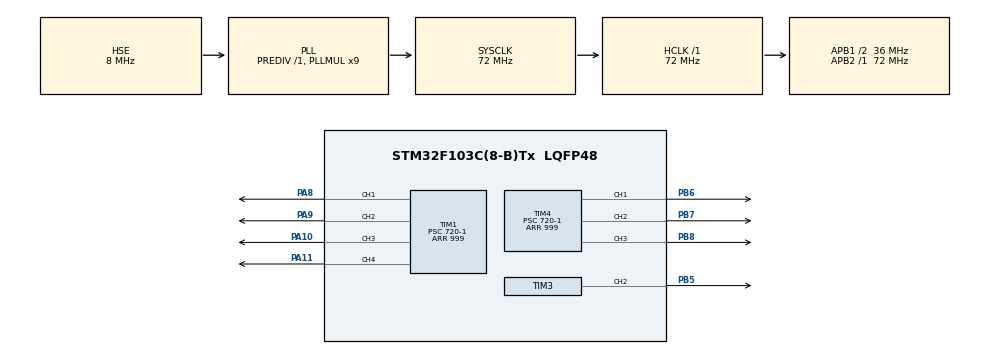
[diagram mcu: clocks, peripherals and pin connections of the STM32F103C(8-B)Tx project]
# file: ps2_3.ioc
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Mcu.Family=STM32F1
Mcu.Name=STM32F103C(8-B)Tx
Mcu.Package=LQFP48
NVIC.PriorityGroup=NVIC_PRIORITYGROUP_4
PA10.Signal=S_TIM1_CH3
PA11.Signal=S_TIM1_CH4
PA13.Mode=Serial_Wire
PA13.Signal=SYS_JTMS-SWDIO
PA14.Mode=Serial_Wire
PA14.Signal=SYS_JTCK-SWCLK
PA8.Signal=S_TIM1_CH1
PA9.Signal=S_TIM1_CH2
PB5.Signal=S_TIM3_CH2
PB6.Signal=S_TIM4_CH1
PB7.Signal=S_TIM4_CH2
PB8.Signal=S_TIM4_CH3
PD0-OSC_IN.Mode=HSE-External-Oscillator
PD0-OSC_IN.Signal=RCC_OSC_IN
PD1-OSC_OUT.Mode=HSE-External-Oscillator
PD1-OSC_OUT.Signal=RCC_OSC_OUT
ProjectManager.HeapSize=0x200
ProjectManager.StackSize=0x400
ProjectManager.TargetToolchain=STM32CubeIDE
RCC.AHBFreq_Value=72000000
RCC.APB1CLKDivider=RCC_HCLK_DIV2
RCC.APB1Freq_Value=36000000
RCC.APB1TimFreq_Value=72000000
RCC.APB2Freq_Value=72000000
RCC.APB2TimFreq_Value=72000000
RCC.HCLKFreq_Value=72000000
RCC.PLLMUL=RCC_PLL_MUL9
RCC.PLLSourceVirtual=RCC_PLLSOURCE_HSE
RCC.SYSCLKFreq_VALUE=72000000
RCC.SYSCLKSource=RCC_SYSCLKSOURCE_PLLCLK
RCC.USBFreq_Value=72000000
SH.S_TIM1_CH1.0=TIM1_CH1,PWM Generation1 CH1
SH.S_TIM1_CH2.0=TIM1_CH2,PWM Generation2 CH2
SH.S_TIM1_CH3.0=TIM1_CH3,PWM Generation3 CH3
SH.S_TIM1_CH4.0=TIM1_CH4,PWM Generation4 CH4
SH.S_TIM3_CH2.0=TIM3_CH2,PWM Generation2 CH2
SH.S_TIM4_CH1.0=TIM4_CH1,PWM Generation1 CH1
SH.S_TIM4_CH2.0=TIM4_CH2,PWM Generation2 CH2
SH.S_TIM4_CH3.0=TIM4_CH3,PWM Generation3 CH3
TIM1.Channel-PWM\ Generation1\ CH1=TIM_CHANNEL_1
TIM1.Channel-PWM\ Generation2\ CH2=TIM_CHANNEL_2
TIM1.Channel-PWM\ Generation3\ CH3=TIM_CHANNEL_3
TIM1.Channel-PWM\ Generation4\ CH4=TIM_CHANNEL_4
TIM1.Period=999
TIM1.Prescaler=720-1
TIM3.Channel-PWM\ Generation2\ CH2=TIM_CHANNEL_2
TIM3.Period=999
TIM3.Prescaler=720-1
TIM4.Channel-PWM\ Generation1\ CH1=TIM_CHANNEL_1
TIM4.Channel-PWM\ Generation2\ CH2=TIM_CHANNEL_2
TIM4.Channel-PWM\ Generation3\ CH3=TIM_CHANNEL_3
TIM4.Period=999
TIM4.Prescaler=720-1
VP_TIM3_VS_ClockSourceINT.Mode=Internal
board=custom

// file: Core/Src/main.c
/* USER CODE BEGIN Header */
/**
  ******************************************************************************
  * @file           : main.c
  * @brief          : Main program body
  ******************************************************************************
  * @attention
  *
  * Copyright (c) 2025 STMicroelectronics.
  * All rights reserved.
  *
  * This software is licensed under terms that can be found in the LICENSE file
  * in the root directory of this software component.
  * If no LICENSE file comes with this software, it is provided AS-IS.
  *
  ******************************************************************************
  */
/* USER CODE END Header */
#include "main.h"
#include "tim.h"
#include "gpio.h"

/* USER CODE BEGIN Includes */
#include "ax_ps2.h"
/* USER CODE END Includes */

/* USER CODE BEGIN PD */
#define PWM_MAX 1000
/* USER CODE END PD */

/* USER CODE BEGIN PV */
JOYSTICK_TypeDef ps2;
/* USER CODE END PV */

void SystemClock_Config(void);
/* USER CODE BEGIN PFP */
void PWM_Init(void);
void PWM_SetDuty(TIM_HandleTypeDef *htim, uint32_t channel, uint16_t duty);
/* USER CODE END PFP */

/* USER CODE BEGIN 0 */
void PWM_Init(void) {
	// 初始化TIM1（PA8-CH1、PA9-CH2、PA10-CH3、PA11-CH4）
	    htim1.Instance = TIM1;
	    htim1.Init.Prescaler = 71;
	    htim1.Init.CounterMode = TIM_COUNTERMODE_UP;
	    htim1.Init.Period = PWM_MAX - 1;
	    htim1.Init.ClockDivision = TIM_CLOCKDIVISION_DIV1;
	    htim1.Init.RepetitionCounter = 0;
	    htim1.Init.AutoReloadPreload = TIM_AUTORELOAD_PRELOAD_ENABLE;
	    if (HAL_TIM_PWM_Init(&htim1) != HAL_OK) {
	        Error_Handler();
	    }

	    TIM_OC_InitTypeDef sConfigOC = {0};
	    sConfigOC.OCMode = TIM_OCMODE_PWM1;
	    sConfigOC.Pulse = 0;
	    sConfigOC.OCPolarity = TIM_OCPOLARITY_HIGH;
	    sConfigOC.OCFastMode = TIM_OCFAST_DISABLE;

	    if (HAL_TIM_PWM_ConfigChannel(&htim1, &sConfigOC, TIM_CHANNEL_1) != HAL_OK) Error_Handler();
	    if (HAL_TIM_PWM_ConfigChannel(&htim1, &sConfigOC, TIM_CHANNEL_2) != HAL_OK) Error_Handler();
	    if (HAL_TIM_PWM_ConfigChannel(&htim1, &sConfigOC, TIM_CHANNEL_3) != HAL_OK) Error_Handler();
	    if (HAL_TIM_PWM_ConfigChannel(&htim1, &sConfigOC, TIM_CHANNEL_4) != HAL_OK) Error_Handler();

	    // 初始化TIM4（PB6-CH1、PB7-CH2、PB8-CH3）
	    htim4.Instance = TIM4;
	    htim4.Init.Prescaler = 71;
	    htim4.Init.CounterMode = TIM_COUNTERMODE_UP;
	    htim4.Init.Period = PWM_MAX - 1;
	    htim4.Init.ClockDivision = TIM_CLOCKDIVISION_DIV1;
	    htim4.Init.AutoReloadPreload = TIM_AUTORELOAD_PRELOAD_ENABLE;
	    if (HAL_TIM_PWM_Init(&htim4) != HAL_OK) {
	        Error_Handler();
	    }

	    if (HAL_TIM_PWM_ConfigChannel(&htim4, &sConfigOC, TIM_CHANNEL_1) != HAL_OK) Error_Handler();
	    if (HAL_TIM_PWM_ConfigChannel(&htim4, &sConfigOC, TIM_CHANNEL_2) != HAL_OK) Error_Handler();
	    if (HAL_TIM_PWM_ConfigChannel(&htim4, &sConfigOC, TIM_CHANNEL_3) != HAL_OK) Error_Handler();

	    // 初始化TIM3（PB5-CH2）
	    htim3.Instance = TIM3;
	    htim3.Init.Prescaler = 71;
	    htim3.Init.CounterMode = TIM_COUNTERMODE_UP;
	    htim3.Init.Period = PWM_MAX - 1;
	    htim3.Init.ClockDivision = TIM_CLOCKDIVISION_DIV1;
	    htim3.Init.AutoReloadPreload = TIM_AUTORELOAD_PRELOAD_ENABLE;
	    if (HAL_TIM_PWM_Init(&htim3) != HAL_OK) {
	        Error_Handler();
	    }

	    if (HAL_TIM_PWM_ConfigChannel(&htim3, &sConfigOC, TIM_CHANNEL_2) != HAL_OK) Error_Handler();

    // 启动PWM输出
    HAL_TIM_PWM_Start(&htim1, TIM_CHANNEL_1);
    HAL_TIM_PWM_Start(&htim1, TIM_CHANNEL_2);
    HAL_TIM_PWM_Start(&htim1, TIM_CHANNEL_3);
    HAL_TIM_PWM_Start(&htim1, TIM_CHANNEL_4);
    HAL_TIM_PWM_Start(&htim4, TIM_CHANNEL_1);
    HAL_TIM_PWM_Start(&htim4, TIM_CHANNEL_2);
    HAL_TIM_PWM_Start(&htim4, TIM_CHANNEL_3);
    HAL_TIM_PWM_Start(&htim3, TIM_CHANNEL_2);

    __HAL_TIM_MOE_ENABLE(&htim1);
}

void PWM_SetDuty(TIM_HandleTypeDef *htim, uint32_t channel, uint16_t duty) {
    if (duty > PWM_MAX) duty = PWM_MAX;
    __HAL_TIM_SET_COMPARE(htim, channel, duty);
}
/* USER CODE END 0 */

int main(void)
{

  /* MCU Configuration--------------------------------------------------------*/

  /* Reset of all peripherals, Initializes the Flash interface and the Systick. */
  HAL_Init();

  /* USER CODE BEGIN Init */
  AX_PS2_Init();

  /* USER CODE END Init */

  /* Configure the system clock */
  SystemClock_Config();

  /* Initialize all configured peripherals */
  MX_GPIO_Init();
  MX_TIM3_Init();
  MX_TIM4_Init();
  MX_TIM1_Init();
  PWM_Init();

  /* Infinite loop */
  /* USER CODE BEGIN WHILE */
  while (1)
  {
    AX_PS2_ScanKey(&ps2);

    // 按键定义：
    // ps2.btn1 == 64  → 后退（保持原逻辑）
    // ps2.btn1 == 16  → 前进
    // ps2.btn1 == 128 → 左转
    // ps2.btn1 == 32  → 右转

    if (ps2.btn2 == 16) {
        // 后退（保留原可行逻辑）
        PWM_SetDuty(&htim1, TIM_CHANNEL_2, 1000); // PA9（右前反转）
        PWM_SetDuty(&htim1, TIM_CHANNEL_4, 1000); // PA11（左前反转）
        PWM_SetDuty(&htim4, TIM_CHANNEL_1, 1000); // PB6（右后反转）
        PWM_SetDuty(&htim4, TIM_CHANNEL_2, 1000); // PB7（左后反转）
        // 关闭其他通道
        PWM_SetDuty(&htim1, TIM_CHANNEL_1, 0);
        PWM_SetDuty(&htim1, TIM_CHANNEL_3, 0);
        PWM_SetDuty(&htim3, TIM_CHANNEL_2, 0);
        PWM_SetDuty(&htim4, TIM_CHANNEL_3, 0);
    }
    else if (ps2.btn2 == 64) {
        // 前进：所有电机正向转动（占空比与后退一致，确保速度匹配）
         PWM_SetDuty(&htim1, TIM_CHANNEL_2, 0); // PA9（右前反转）
         PWM_SetDuty(&htim1, TIM_CHANNEL_4, 0); // PA11（左前反转）
         PWM_SetDuty(&htim4, TIM_CHANNEL_1, 0); // PB6（右后反转）
         PWM_SetDuty(&htim4, TIM_CHANNEL_2, 0); // PB7（左后反转）
         // 关闭其他通道
         PWM_SetDuty(&htim1, TIM_CHANNEL_1, 1000);
         PWM_SetDuty(&htim1, TIM_CHANNEL_3, 1000);
         PWM_SetDuty(&htim3, TIM_CHANNEL_2, 1000);
         PWM_SetDuty(&htim4, TIM_CHANNEL_3, 1000);
    }
    else if (ps2.btn2 == 128) {
        // 右转：右侧电机停转/低速，左侧电机正转（利用前进方向的左侧电机）
        PWM_SetDuty(&htim1, TIM_CHANNEL_1, 0); // PA8（右前正转）
        PWM_SetDuty(&htim1, TIM_CHANNEL_2, 1000);

        PWM_SetDuty(&htim1, TIM_CHANNEL_3, 1000);   // 左前停转
        PWM_SetDuty(&htim1, TIM_CHANNEL_4, 0);

        PWM_SetDuty(&htim4, TIM_CHANNEL_1, 1000);
        PWM_SetDuty(&htim3, TIM_CHANNEL_2, 0);

        PWM_SetDuty(&htim4, TIM_CHANNEL_3, 1000);   // 左后停转
        PWM_SetDuty(&htim4, TIM_CHANNEL_2, 0); // PB7（右后正转）
    }
    else if (ps2.btn2 == 32) {
        // 右转：右侧电机停转/低速，左侧电机正转（利用前进方向的左侧电机）
        PWM_SetDuty(&htim1, TIM_CHANNEL_1, 800); // PA8（右前正转）
        PWM_SetDuty(&htim1, TIM_CHANNEL_2, 0);

        PWM_SetDuty(&htim1, TIM_CHANNEL_3, 0);   // 左前停转
        PWM_SetDuty(&htim1, TIM_CHANNEL_4, 800);

        PWM_SetDuty(&htim4, TIM_CHANNEL_1, 0);
        PWM_SetDuty(&htim3, TIM_CHANNEL_2, 800);

        PWM_SetDuty(&htim4, TIM_CHANNEL_3, 0);   // 左后停转
        PWM_SetDuty(&htim4, TIM_CHANNEL_2, 800); // PB7（右后正转）
    }
    else if (ps2.btn1 == 16) {
        // 后退（保留原可行逻辑）
        PWM_SetDuty(&htim1, TIM_CHANNEL_2, 600); // PA9（右前反转）
        PWM_SetDuty(&htim1, TIM_CHANNEL_4, 600); // PA11（左前反转）
        PWM_SetDuty(&htim4, TIM_CHANNEL_1, 600); // PB6（右后反转）
        PWM_SetDuty(&htim4, TIM_CHANNEL_2, 600); // PB7（左后反转）
        // 关闭其他通道
        PWM_SetDuty(&htim1, TIM_CHANNEL_1, 0);
        PWM_SetDuty(&htim1, TIM_CHANNEL_3, 0);
        PWM_SetDuty(&htim3, TIM_CHANNEL_2, 0);
        PWM_SetDuty(&htim4, TIM_CHANNEL_3, 0);
    }
    else if (ps2.btn1 == 64) {
        // 前进：所有电机正向转动（占空比与后退一致，确保速度匹配）
         PWM_SetDuty(&htim1, TIM_CHANNEL_2, 0); // PA9（右前反转）
         PWM_SetDuty(&htim1, TIM_CHANNEL_4, 0); // PA11（左前反转）
         PWM_SetDuty(&htim4, TIM_CHANNEL_1, 0); // PB6（右后反转）
         PWM_SetDuty(&htim4, TIM_CHANNEL_2, 0); // PB7（左后反转）
         // 关闭其他通道
         PWM_SetDuty(&htim1, TIM_CHANNEL_1, 600);
         PWM_SetDuty(&htim1, TIM_CHANNEL_3, 600);
         PWM_SetDuty(&htim3, TIM_CHANNEL_2, 600);
         PWM_SetDuty(&htim4, TIM_CHANNEL_3, 600);
    }
    else if (ps2.btn1 == 128) {
        // 右转：右侧电机停转/低速，左侧电机正转（利用前进方向的左侧电机）
        PWM_SetDuty(&htim1, TIM_CHANNEL_1, 0); // PA8（右前正转）
        PWM_SetDuty(&htim1, TIM_CHANNEL_2, 600);

        PWM_SetDuty(&htim1, TIM_CHANNEL_3, 600);   // 左前停转
        PWM_SetDuty(&htim1, TIM_CHANNEL_4, 0);

        PWM_SetDuty(&htim4, TIM_CHANNEL_1, 600);
        PWM_SetDuty(&htim3, TIM_CHANNEL_2, 0);

        PWM_SetDuty(&htim4, TIM_CHANNEL_3, 600);   // 左后停转
        PWM_SetDuty(&htim4, TIM_CHANNEL_2, 0); // PB7（右后正转）
    }
    else if (ps2.btn1 == 32) {
        // 右转：右侧电机停转/低速，左侧电机正转（利用前进方向的左侧电机）
        PWM_SetDuty(&htim1, TIM_CHANNEL_1, 800); // PA8（右前正转）
        PWM_SetDuty(&htim1, TIM_CHANNEL_2, 0);

        PWM_SetDuty(&htim1, TIM_CHANNEL_3, 0);   // 左前停转
        PWM_SetDuty(&htim1, TIM_CHANNEL_4, 800);

        PWM_SetDuty(&htim4, TIM_CHANNEL_1, 0);
        PWM_SetDuty(&htim3, TIM_CHANNEL_2, 800);

        PWM_SetDuty(&htim4, TIM_CHANNEL_3, 0);   // 左后停转
        PWM_SetDuty(&htim4, TIM_CHANNEL_2, 800); // PB7（右后正转）
    }

    else {
        // 无按键按下时，所有电机停转
        PWM_SetDuty(&htim1, TIM_CHANNEL_1, 0);
        PWM_SetDuty(&htim1, TIM_CHANNEL_2, 0);
        PWM_SetDuty(&htim1, TIM_CHANNEL_3, 0);
        PWM_SetDuty(&htim1, TIM_CHANNEL_4, 0);
        PWM_SetDuty(&htim4, TIM_CHANNEL_1, 0);
        PWM_SetDuty(&htim4, TIM_CHANNEL_2, 0);
        PWM_SetDuty(&htim4, TIM_CHANNEL_3, 0);
        PWM_SetDuty(&htim3, TIM_CHANNEL_2, 0);

    }

    HAL_Delay(10);
    /* USER CODE END WHILE */

  }
}

void SystemClock_Config(void)
{
  RCC_OscInitTypeDef RCC_OscInitStruct = {0};
  RCC_ClkInitTypeDef RCC_ClkInitStruct = {0};

  /** Initializes the RCC Oscillators according to the specified parameters
  * in the RCC_OscInitTypeDef structure.
  */
  RCC_OscInitStruct.OscillatorType = RCC_OSCILLATORTYPE_HSE;
  RCC_OscInitStruct.HSEState = RCC_HSE_ON;
  RCC_OscInitStruct.HSEPredivValue = RCC_HSE_PREDIV_DIV1;
  RCC_OscInitStruct.HSIState = RCC_HSI_ON;
  RCC_OscInitStruct.PLL.PLLState = RCC_PLL_ON;
  RCC_OscInitStruct.PLL.PLLSource = RCC_PLLSOURCE_HSE;
  RCC_OscInitStruct.PLL.PLLMUL = RCC_PLL_MUL9;
  if (HAL_RCC_OscConfig(&RCC_OscInitStruct) != HAL_OK)
  {
    Error_Handler();
  }

  /** Initializes the CPU, AHB and APB buses clocks
  */
  RCC_ClkInitStruct.ClockType = RCC_CLOCKTYPE_HCLK|RCC_CLOCKTYPE_SYSCLK
                              |RCC_CLOCKTYPE_PCLK1|RCC_CLOCKTYPE_PCLK2;
  RCC_ClkInitStruct.SYSCLKSource = RCC_SYSCLKSOURCE_PLLCLK;
  RCC_ClkInitStruct.AHBCLKDivider = RCC_SYSCLK_DIV1;
  RCC_ClkInitStruct.APB1CLKDivider = RCC_HCLK_DIV2;
  RCC_ClkInitStruct.APB2CLKDivider = RCC_HCLK_DIV1;

  if (HAL_RCC_ClockConfig(&RCC_ClkInitStruct, FLASH_LATENCY_2) != HAL_OK)
  {
    Error_Handler();
  }
}

void Error_Handler(void)
{
  __disable_irq();
  while (1)
  {
  }
}
